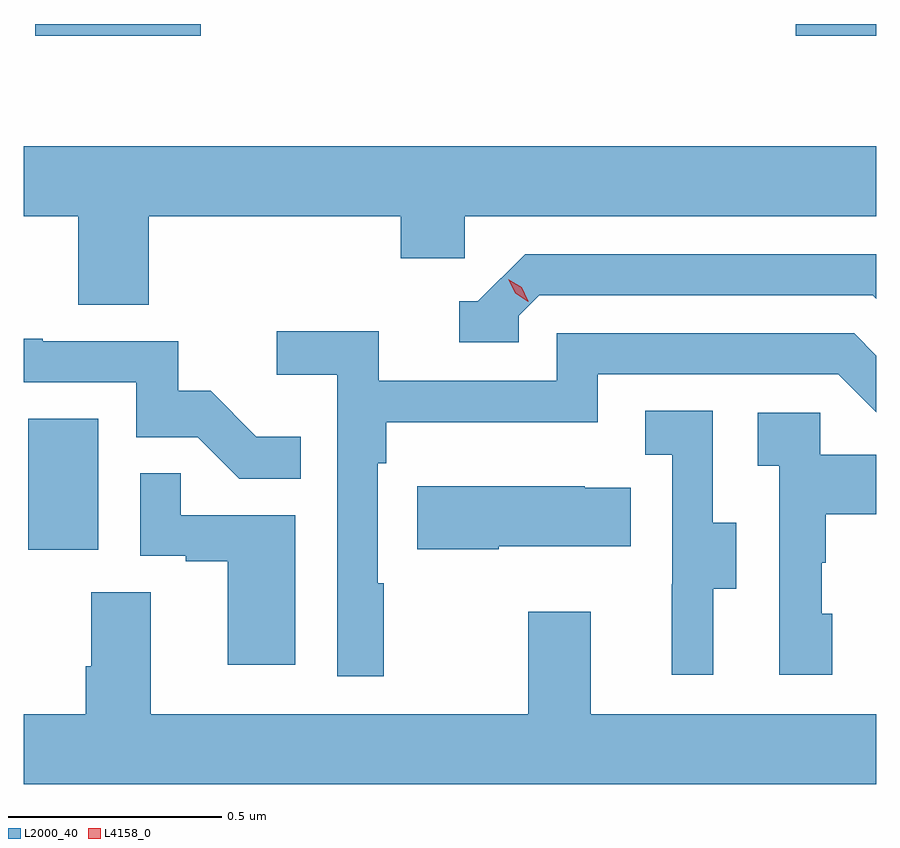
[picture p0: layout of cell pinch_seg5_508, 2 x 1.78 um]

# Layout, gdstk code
import gdstk
lib = gdstk.Library(unit=1e-6, precision=1e-09)
def R(c, l, rs):  # rectangles x0, y0, x1, y1
    for r in rs: c.add(gdstk.rectangle(r[:2], r[2:], *l))
def P(c, l, *ps):  # polygons
    for p in ps: c.add(gdstk.Polygon(p, *l))
L2000_40 = (2000, 40)
L4158_0 = (4158, 0)

pinch_seg5_508 = lib.new_cell('pinch_seg5_508')
R(pinch_seg5_508, L2000_40, [(903.248,843.99,903.412,844.297), (903.264,845.195,903.652,845.223), (905.048,845.195,905.237,845.223)])
P(pinch_seg5_508, L2000_40, [(903.53,844.772),(904.121,844.772),(904.121,844.674),(904.272,844.674),(904.272,844.772),(905.237,844.772),(905.237,844.936),(903.237,844.936),(903.237,844.772),(903.365,844.772),(903.365,844.564),(903.53,844.564)],
  [(904.398,844.539),(904.446,844.587),(905.229,844.587),(905.237,844.579),(905.237,844.683),(904.413,844.683),(904.302,844.572),(904.259,844.572),(904.259,844.476),(904.398,844.476)],
  [(904.081,843.911),(904.068,843.911),(904.068,844.193),(904.088,844.193),(904.088,844.289),(904.584,844.289),(904.584,844.401),(905.148,844.401),(905.237,844.312),(905.237,844.445),(905.185,844.497),(904.488,844.497),(904.488,844.386),(904.07,844.386),(904.07,844.502),(903.831,844.502),(903.831,844.4),(903.972,844.4),(903.972,843.693),(904.081,843.693)],
  [(903.887,844.255),(903.783,844.255),(903.676,844.362),(903.6,844.362),(903.6,844.479),(903.281,844.479),(903.281,844.484),(903.237,844.484),(903.237,844.383),(903.501,844.383),(903.501,844.254),(903.645,844.254),(903.743,844.156),(903.887,844.156)],
  [(904.855,843.898),(904.909,843.898),(904.909,844.053),(904.854,844.053),(904.854,844.316),(904.695,844.316),(904.695,844.213),(904.758,844.213),(904.758,843.909),(904.757,843.909),(904.757,843.696),(904.855,843.696)],
  [(905.134,843.84),(905.109,843.84),(905.109,843.959),(905.119,843.959),(905.119,844.073),(905.237,844.073),(905.237,844.213),(905.106,844.213),(905.106,844.311),(904.959,844.311),(904.959,844.187),(905.01,844.187),(905.01,843.696),(905.134,843.696)],
  [(903.874,844.071),(903.605,844.071),(903.605,844.169),(903.51,844.169),(903.51,843.975),(903.617,843.975),(903.617,843.963),(903.716,843.963),(903.716,843.72),(903.874,843.72)],
  [(904.351,843.998),(904.661,843.998),(904.661,844.135),(904.553,844.135),(904.553,844.138),(904.16,844.138),(904.16,843.991),(904.351,843.991)],
  [(904.42,843.844),(904.42,843.604),(903.535,843.604),(903.535,843.89),(903.395,843.89),(903.395,843.716),(903.383,843.716),(903.383,843.604),(903.237,843.604),(903.237,843.44),(905.237,843.44),(905.237,843.604),(904.567,843.604),(904.567,843.844)])
P(pinch_seg5_508, L4158_0, [(904.42,844.571),(904.39,844.591),(904.374,844.624),(904.374,844.624),(904.374,844.624),(904.405,844.605),(904.421,844.572),(904.421,844.571)])

lib.write_gds('pinch_seg5_508.gds')
